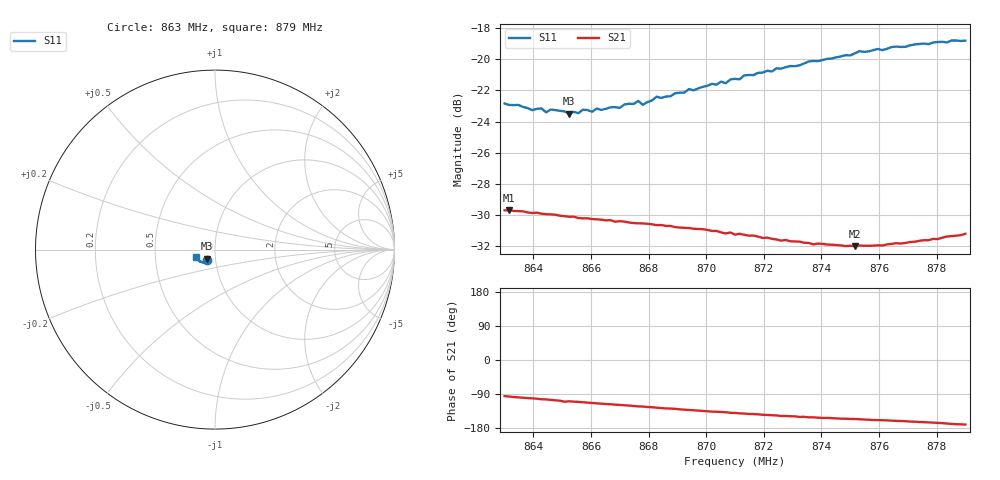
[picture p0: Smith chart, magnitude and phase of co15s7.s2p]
# HZ S RI R 50
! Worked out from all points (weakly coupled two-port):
!   101 points, 863 MHz to 879 MHz, reference 50 ohm
!   highest |S21| = -29.69 dB at 863.16 MHz (marker M1); lowest = -32.0 dB at 875.16 MHz (marker M2)
!   lowest |S11| = -23.5 dB at 865.24 MHz (marker M3), VSWR 1.14, Z = 45.7 - j4.72 ohm
!   |S11| at or under -10 dB: start of sweep to end of sweep
!   S12 and S22 are empty: the file has one direction only
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8.63e8  -0.0464 -0.0552  -0.00303 -0.0326  0 0  0 0
8.6316e8  -0.0453 -0.0551  -0.00369 -0.0326  0 0  0 0
8.6428e8  -0.0406 -0.0565  -0.00749 -0.0311  0 0  0 0
8.6444e8  -0.0394 -0.0549  -0.00774 -0.0309  0 0  0 0
8.646e8  -0.0403 -0.056  -0.00832 -0.0307  0 0  0 0
8.6524e8  -0.0427 -0.0514  -0.0102 -0.0295  0 0  0 0
8.6556e8  -0.0383 -0.0552  -0.0109 -0.029  0 0  0 0
8.6572e8  -0.0383 -0.0573  -0.0113 -0.0287  0 0  0 0
8.6604e8  -0.0366 -0.0572  -0.0122 -0.0282  0 0  0 0
8.662e8  -0.0379 -0.0582  -0.0126 -0.0279  0 0  0 0
8.67e8  -0.0369 -0.0593  -0.0144 -0.0265  0 0  0 0
8.6764e8  -0.0376 -0.0632  -0.0159 -0.0251  0 0  0 0
8.678e8  -0.0364 -0.0615  -0.0161 -0.025  0 0  0 0
8.6828e8  -0.0385 -0.0654  -0.0172 -0.0238  0 0  0 0
8.6844e8  -0.0386 -0.0645  -0.0176 -0.0235  0 0  0 0
8.7052e8  -0.0462 -0.0712  -0.0204 -0.0189  0 0  0 0
8.7068e8  -0.0463 -0.0699  -0.0205 -0.0185  0 0  0 0
8.71e8  -0.049 -0.0714  -0.0209 -0.0177  0 0  0 0
8.7372e8  -0.0673 -0.0723  -0.0223 -0.0122  0 0  0 0
8.7516e8  -0.08 -0.0673  -0.0229 -0.0103  0 0  0 0
8.7644e8  -0.0912 -0.0607  -0.024 -0.00872  0 0  0 0
8.79e8  -0.1079 -0.0393  -0.0272 -0.00462  0 0  0 0
